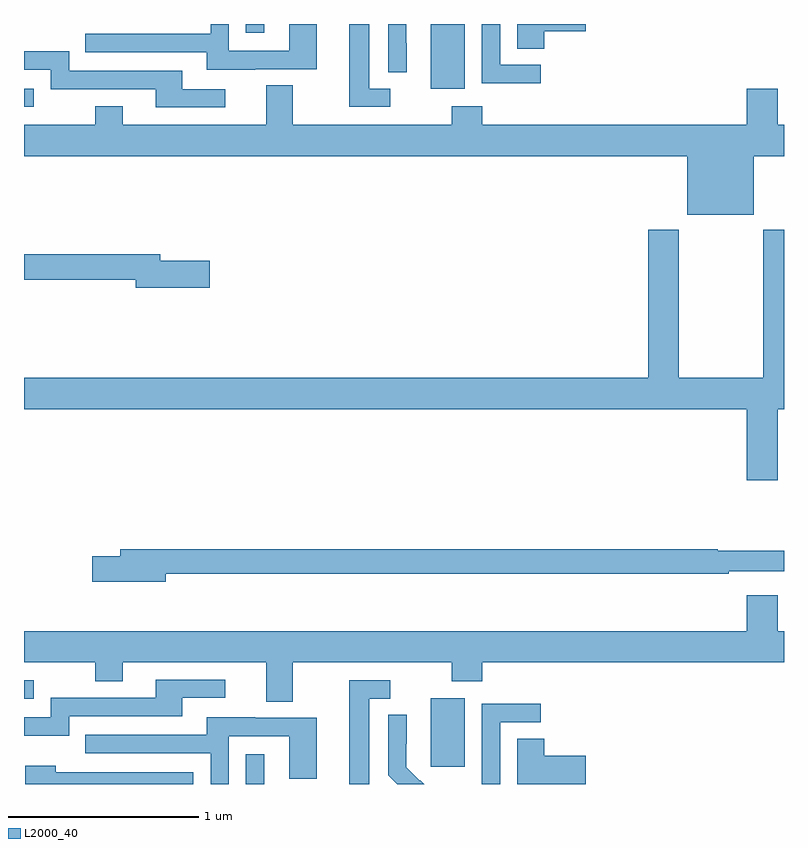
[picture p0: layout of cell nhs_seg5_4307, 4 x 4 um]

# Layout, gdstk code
import gdstk
lib = gdstk.Library(unit=1e-6, precision=1e-09)
def R(c, l, rs):  # rectangles x0, y0, x1, y1
    for r in rs: c.add(gdstk.rectangle(r[:2], r[2:], *l))
def P(c, l, *ps):  # polygons
    for p in ps: c.add(gdstk.Polygon(p, *l))
L2000_40 = (2000, 40)

nhs_seg5_4307 = lib.new_cell('nhs_seg5_4307')
R(nhs_seg5_4307, L2000_40, [(366.168,842.799,366.265,842.956), (367.142,842.889,367.321,843.25), (365,843.249,365.05,843.345), (365,846.363,365.05,846.459), (367.142,846.458,367.321,846.799), (366.168,846.753,366.265,846.799)])
P(nhs_seg5_4307, L2000_40, [(366.217,846.561),(366.541,846.561),(366.541,846.799),(366.396,846.799),(366.396,846.657),(366.078,846.657),(366.078,846.799),(365.982,846.799),(365.982,846.747),(365.323,846.747),(365.323,846.651),(365.963,846.651),(365.963,846.557),(366.217,846.557)],
  [(366.928,846.459),(366.817,846.459),(366.817,846.799),(366.713,846.799),(366.713,846.363),(366.928,846.363)],
  [(367.72,846.585),(367.506,846.585),(367.506,846.799),(367.41,846.799),(367.41,846.487),(367.72,846.487)],
  [(367.014,846.698),(367.013,846.698),(367.013,846.799),(366.918,846.799),(366.918,846.544),(367.014,846.544)],
  [(367.739,846.761),(367.957,846.761),(367.957,846.799),(367.595,846.799),(367.595,846.67),(367.739,846.67)],
  [(366.058,846.456),(365.833,846.456),(365.833,846.552),(365.238,846.552),(365.238,846.655),(365,846.655),(365,846.558),(365.142,846.558),(365.142,846.456),(365.693,846.456),(365.693,846.36),(366.058,846.36)],
  [(368.842,846.104),(369,846.104),(369,846.268),(368.968,846.268),(368.968,846.457),(368.804,846.457),(368.804,846.268),(367.412,846.268),(367.412,846.367),(367.252,846.367),(367.252,846.268),(366.415,846.268),(366.415,846.476),(366.275,846.476),(366.275,846.268),(365.521,846.268),(365.521,846.367),(365.374,846.367),(365.374,846.268),(365,846.268),(365,846.104),(368.492,846.104),(368.492,845.795),(368.842,845.795)],
  [(368.968,844.772),(369,844.772),(369,845.716),(368.89,845.716),(368.89,844.936),(368.445,844.936),(368.445,845.716),(368.285,845.716),(368.285,844.936),(365,844.936),(365,844.772),(368.804,844.772),(368.804,844.398),(368.968,844.398)],
  [(365.977,845.552),(365.716,845.552),(365.716,845.588),(365,845.588),(365,845.452),(365.588,845.452),(365.588,845.41),(365.977,845.41)],
  [(365.746,843.906),(368.708,843.906),(368.708,843.918),(369,843.918),(369,844.027),(368.65,844.027),(368.65,844.034),(365.507,844.034),(365.507,843.998),(365.358,843.998),(365.358,843.863),(365.746,843.863)],
  [(368.804,843.793),(368.804,843.604),(365,843.604),(365,843.44),(365.374,843.44),(365.374,843.341),(365.521,843.341),(365.521,843.44),(366.275,843.44),(366.275,843.232),(366.415,843.232),(366.415,843.44),(367.252,843.44),(367.252,843.341),(367.412,843.341),(367.412,843.44),(369,843.44),(369,843.604),(368.968,843.604),(368.968,843.793)],
  [(365.238,843.156),(365.833,843.156),(365.833,843.252),(366.058,843.252),(366.058,843.348),(365.693,843.348),(365.693,843.252),(365.142,843.252),(365.142,843.15),(365,843.15),(365,843.053),(365.238,843.053)],
  [(366.817,843.249),(366.928,843.249),(366.928,843.345),(366.713,843.345),(366.713,842.799),(366.817,842.799)],
  [(367.506,843.123),(367.72,843.123),(367.72,843.222),(367.41,843.222),(367.41,842.799),(367.506,842.799)],
  [(367.086,842.82),(367.083,842.817),(367.013,842.888),(367.013,843.01),(367.014,843.01),(367.014,843.164),(366.918,843.164),(366.918,842.846),(366.965,842.799),(367.107,842.799)],
  [(366.078,843.051),(366.396,843.051),(366.396,842.827),(366.541,842.827),(366.541,843.147),(366.217,843.147),(366.217,843.151),(365.963,843.151),(365.963,843.057),(365.323,843.057),(365.323,842.961),(365.982,842.961),(365.982,842.799),(366.078,842.799)],
  [(367.957,842.948),(367.739,842.948),(367.739,843.038),(367.595,843.038),(367.595,842.799),(367.957,842.799)],
  [(365.892,842.862),(365.168,842.862),(365.168,842.896),(365.007,842.896),(365.007,842.799),(365.892,842.799)])

lib.write_gds('nhs_seg5_4307.gds')
